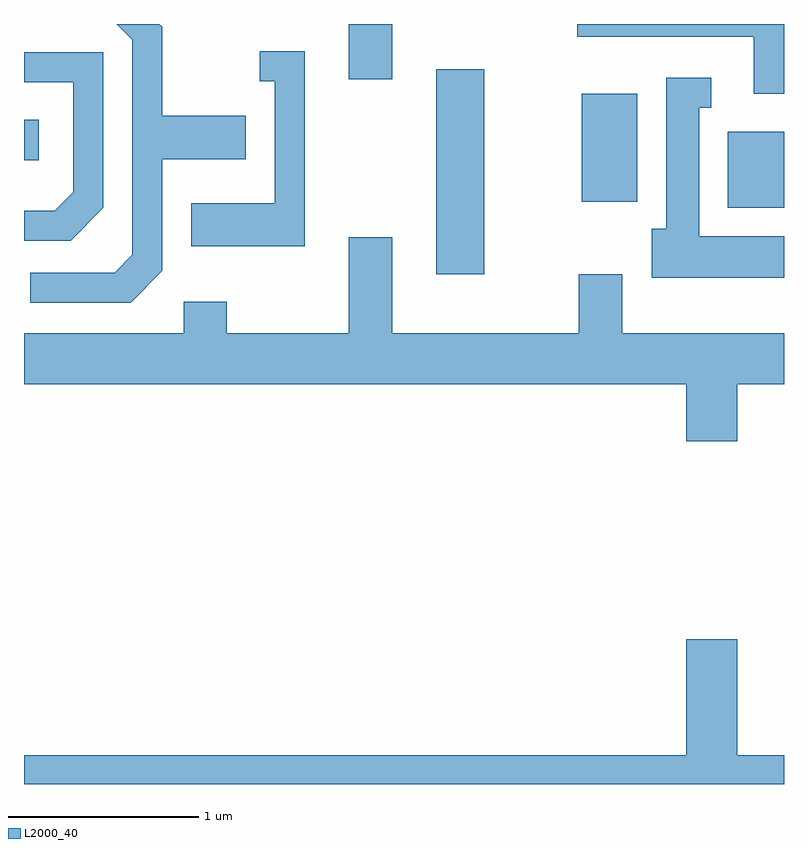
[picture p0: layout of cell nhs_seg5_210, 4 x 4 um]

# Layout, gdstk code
import gdstk
lib = gdstk.Library(unit=1e-6, precision=1e-09)
def R(c, l, rs):  # rectangles x0, y0, x1, y1
    for r in rs: c.add(gdstk.rectangle(r[:2], r[2:], *l))
def P(c, l, *ps):  # polygons
    for p in ps: c.add(gdstk.Polygon(p, *l))
L2000_40 = (2000, 40)

nhs_seg5_210 = lib.new_cell('nhs_seg5_210')
R(nhs_seg5_210, L2000_40, [(193.781,1410.756,194.034,1411.834), (195.316,1411.106,195.611,1411.504), (194.546,1411.136,194.839,1411.704), (191.611,1411.356,191.689,1411.569), (193.321,1411.781,193.549,1412.072)])
P(nhs_seg5_210, L2000_40, [(195.611,1412.072),(194.523,1412.072),(194.523,1412.006),(195.451,1412.006),(195.451,1411.706),(195.611,1411.706)],
  [(192.339,1410.774),(192.339,1411.361),(192.779,1411.361),(192.779,1411.589),(192.339,1411.589),(192.339,1412.057),(192.324,1412.072),(192.098,1412.072),(192.181,1411.989),(192.181,1410.857),(192.089,1410.764),(191.643,1410.764),(191.643,1410.606),(192.172,1410.606)],
  [(193.089,1411.929),(192.853,1411.929),(192.853,1411.771),(192.931,1411.771),(192.931,1411.129),(192.491,1411.129),(192.491,1410.901),(193.089,1410.901)],
  [(192.029,1411.104),(192.029,1411.924),(191.611,1411.924),(191.611,1411.766),(191.871,1411.766),(191.871,1411.187),(191.774,1411.089),(191.611,1411.089),(191.611,1410.931),(191.857,1410.931)],
  [(195.611,1410.954),(195.164,1410.954),(195.164,1411.631),(195.228,1411.631),(195.228,1411.789),(194.991,1411.789),(194.991,1410.994),(194.916,1410.994),(194.916,1410.736),(195.611,1410.736)],
  [(195.364,1410.176),(195.611,1410.176),(195.611,1410.444),(194.759,1410.444),(194.759,1410.754),(194.531,1410.754),(194.531,1410.444),(193.549,1410.444),(193.549,1410.949),(193.321,1410.949),(193.321,1410.444),(192.679,1410.444),(192.679,1410.609),(192.451,1410.609),(192.451,1410.444),(191.611,1410.444),(191.611,1410.176),(195.096,1410.176),(195.096,1409.876),(195.364,1409.876)],
  [(195.611,1408.224),(195.364,1408.224),(195.364,1408.834),(195.096,1408.834),(195.096,1408.224),(191.611,1408.224),(191.611,1408.072),(195.611,1408.072)])

lib.write_gds('nhs_seg5_210.gds')
